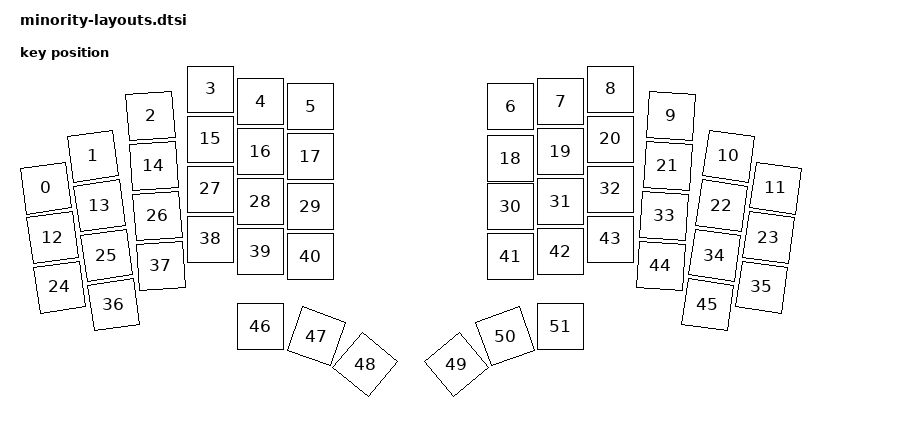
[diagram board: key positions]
#include <physical_layouts.dtsi>

/ {
    physical_layout0: physical_layout_0 {
        compatible = "zmk,physical-layout";
        display-name = "Default Layout";
        transform = <&default_transform>;

        keys  //                     w   h    x    y     rot    rx    ry
            = <&key_physical_attrs 100 100    0  175  (-800)   200   450> // 42
            , <&key_physical_attrs 100 100  102  125  (-800)   200   450> // 41
            , <&key_physical_attrs 100 100  200   50  (-400)   300   400> // 48
            , <&key_physical_attrs 100 100  300    0       0     0     0> // 0
            , <&key_physical_attrs 100 100  400   25       0     0     0> // 2
            , <&key_physical_attrs 100 100  500   35       0     0     0> // 4
            , <&key_physical_attrs 100 100  900   35       0     0     0> // 5
            , <&key_physical_attrs 100 100 1000   25       0     0     0> // 3
            , <&key_physical_attrs 100 100 1100    0       0     0     0> // 1
            , <&key_physical_attrs 100 100 1200   50     400  1200   400> // 26
            , <&key_physical_attrs 100 100 1298  125     800  1300   450> // 30
            , <&key_physical_attrs 100 100 1400  175     800  1300   450> // 31

            , <&key_physical_attrs 100 100    0  275  (-800)   200   450> // 44
            , <&key_physical_attrs 100 100  102  225  (-800)   200   450> // 43
            , <&key_physical_attrs 100 100  200  150  (-400)   300   400> // 49
            , <&key_physical_attrs 100 100  300  100       0     0     0> // 6
            , <&key_physical_attrs 100 100  400  125       0     0     0> // 8
            , <&key_physical_attrs 100 100  500  135       0     0     0> // 10
            , <&key_physical_attrs 100 100  900  139       0     0     0> // 11
            , <&key_physical_attrs 100 100 1000  125       0     0     0> // 9
            , <&key_physical_attrs 100 100 1100  100       0     0     0> // 7
            , <&key_physical_attrs 100 100 1200  150     400  1200   400> // 27
            , <&key_physical_attrs 100 100 1298  225     800  1300   450> // 32
            , <&key_physical_attrs 100 100 1400  275     800  1300   450> // 33

            , <&key_physical_attrs 100 100    0  375  (-800)   200   450> // 46
            , <&key_physical_attrs 100 100  102  325  (-800)   200   450> // 45
            , <&key_physical_attrs 100 100  200  250  (-400)   300   400> // 50
            , <&key_physical_attrs 100 100  300  200       0     0     0> // 12
            , <&key_physical_attrs 100 100  400  225       0     0     0> // 14
            , <&key_physical_attrs 100 100  500  235       0     0     0> // 16
            , <&key_physical_attrs 100 100  900  235       0     0     0> // 17
            , <&key_physical_attrs 100 100 1000  225       0     0     0> // 15
            , <&key_physical_attrs 100 100 1100  200       0     0     0> // 13
            , <&key_physical_attrs 100 100 1200  250     400  1200   400> // 28
            , <&key_physical_attrs 100 100 1298  325     800  1300   450> // 34
            , <&key_physical_attrs 100 100 1400  375     800  1300   450> // 35

            , <&key_physical_attrs 100 100  102  425  (-800)   200   450> // 47
            , <&key_physical_attrs 100 100  200  350  (-400)   300   400> // 51
            , <&key_physical_attrs 100 100  300  300       0     0     0> // 18
            , <&key_physical_attrs 100 100  400  325       0     0     0> // 20
            , <&key_physical_attrs 100 100  500  335       0     0     0> // 22
            , <&key_physical_attrs 100 100  900  335       0     0     0> // 23
            , <&key_physical_attrs 100 100 1000  325       0     0     0> // 21
            , <&key_physical_attrs 100 100 1100  300       0     0     0> // 19
            , <&key_physical_attrs 100 100 1200  350     400  1200   400> // 29
            , <&key_physical_attrs 100 100 1298  425     800  1300   450> // 36

            , <&key_physical_attrs 100 100  400  475       0     0     0> // 24
            , <&key_physical_attrs 100 100  400  475    2000   450   850> // 37
            , <&key_physical_attrs 100 100  400  475    4000   450   850> // 38
            , <&key_physical_attrs 100 100 1000  475 (-4000)  1050   850> // 39
            , <&key_physical_attrs 100 100 1000  475 (-2000)  1050   850> // 40
            , <&key_physical_attrs 100 100 1000  475       0     0     0> // 25
            ;
    };
};
